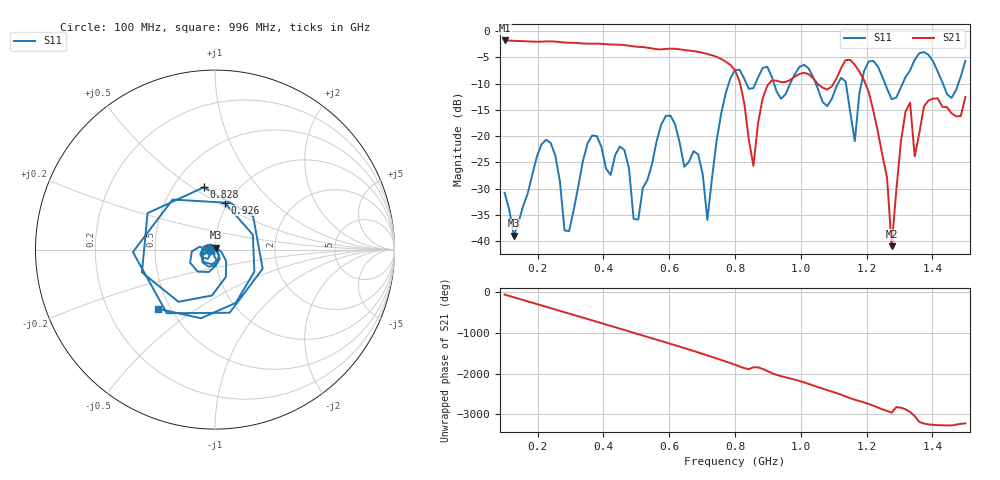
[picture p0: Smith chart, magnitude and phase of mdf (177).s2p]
! NanoVNA-App
! Date: 2025-09-25 15:39:48
! Start: 100MHz Stop: 1,5GHz Points: 101
! S-Parameter data: F S11 S21 S12 S22
# Hz S RI R 50
!  Frequency  S11_Real  S11_Imag  S21_Real  S21_Imag  S12_Real  S12_Imag  S22_Real  S22_Imag
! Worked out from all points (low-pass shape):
!   101 points, 100 MHz to 1.5 GHz, reference 50 ohm
!   highest |S21| = -1.80 dB at 100 MHz (marker M1); lowest = -40.9 dB at 1.276 GHz (marker M2)
!   |S21| within 3 dB of the highest: start of sweep to 739 MHz
!   lowest |S11| = -38.9 dB at 128 MHz (marker M3), VSWR 1.02, Z = 50.3 + j1.08 ohm
!   |S11| at or under -10 dB: start of sweep to 781 MHz; 1.045 GHz to 1.113 GHz (67.39 MHz wide, 6.24 % of centre); 1.256 GHz to 1.309 GHz (53.51 MHz wide, 4.17 % of centre) (the widest 3 of 7)
!   S12 and S22 are empty: the file has one direction only
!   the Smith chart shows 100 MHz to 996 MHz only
!   S11 on the Smith chart (normalised r, x): 100 MHz: 0.94, -0.01; 828 MHz: 0.70, +0.56; 926 MHz: 0.96, +0.54; 996 MHz: 0.43, -0.36
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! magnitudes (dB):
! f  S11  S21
! 100 MHz  -30.8  -1.8
! 128 MHz  -38.9  -1.9
! 212 MHz  -21.6  -2.0
! 282 MHz  -37.9  -2.2
! 338 MHz  -24.7  -2.4
! 464 MHz  -22.7  -2.7
! 506 MHz  -35.9  -3.0
! 576 MHz  -17.8  -3.5
! 688 MHz  -23.4  -4.0
! 716 MHz  -35.9  -4.4
! 800 MHz  -7.4  -7.5
! 828 MHz  -9.1  -13.7
! 856 MHz  -10.9  -25.7
! 926 MHz  -11.5  -9.5
! 996 MHz  -6.8  -8.2
! 1.038 GHz  -8.8  -9.0
! 1.164 GHz  -21.0  -6.4
! 1.192 GHz  -7.7  -9.4
! 1.276 GHz  -13.0  -40.9
! 1.318 GHz  -8.8  -15.3
! 1.346 GHz  -5.5  -23.9
! 1.5 GHz  -5.7  -12.5
